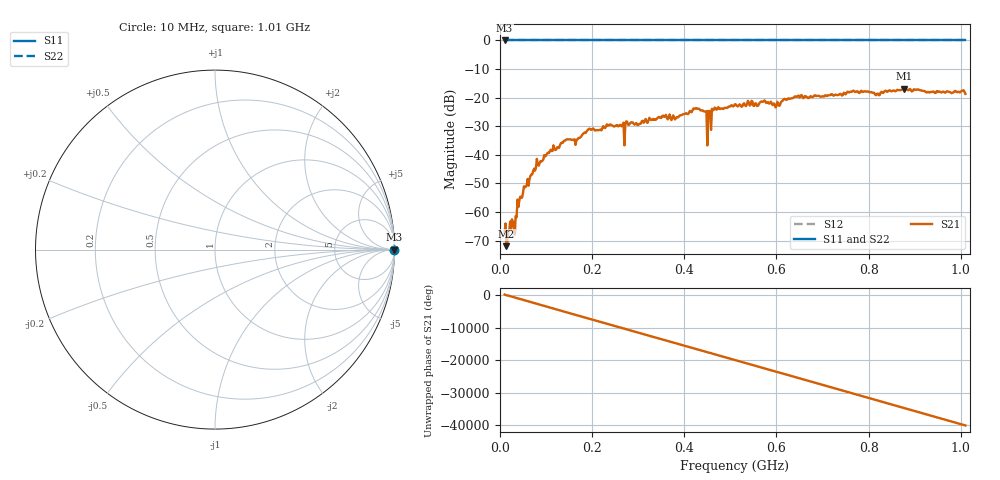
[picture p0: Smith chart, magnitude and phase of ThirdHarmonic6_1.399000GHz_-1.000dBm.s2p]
! 8/16/2025 3:59:18 PM
! C:\ANRITSUVNA\TEMP\TEMP.S2P
! CHANNEL.1
! TR.MEASUREMENT
! RAW.DATA
! RF.CORRECTION.OFF
! AVERAGING.OFF
! IF.BANDWIDTH: 5KHZ
! SWEEPTYPE:  FREQ.SWEEP(Linear)
! Reference Plane Port Info
! PORT:  PORT1  PORT2
! DISTANCE:  0  m  0  m
! TIME:  0  s  0  s
! PHASE.OFFSET:  0  deg.  0  deg.
! LOSS:  0  dB  0  dB
! REF.LOSS:  0  dB  0  dB
! REF.FREQ:  0  Hz  0  Hz
! Power Info
! POWER:  -20  dBm  -20  dBm
! EFF.POWER:  -20  dBm  -20  dBm
! SOURCE.ATTEN:  0  dB  0  dB
! TEST.ATTEN:  0  dB  0  dB
# GHZ S RI R 50.0
! FREQ.GHZ  S11RE  S11IM  S21RE  S21IM  S12RE  S12IM  S22RE  S22IM
!; PortSelection: Port_12
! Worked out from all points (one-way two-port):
!   501 points, 10 MHz to 1.01 GHz, reference 50 ohm
!   highest |S21| = -16.81 dB at 876 MHz (marker M1); lowest = -72.0 dB at 14 MHz (marker M2)
!   lowest |S11| = 0.0 dB at 10 MHz (marker M3)
!   |S11| at or under -10 dB: nowhere
!   |S22| runs from 0.0 to 0.0 dB; largest |S21 - S12| = 1.1
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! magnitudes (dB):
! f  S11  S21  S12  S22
! 10 MHz  0.0  -67.2  0.0  0.0
! 14 MHz  0.0  -72.0  0.0  0.0
! 32 MHz  0.0  -68.0  0.0  0.0
! 42 MHz  0.0  -55.8  0.0  0.0
! 78 MHz  0.0  -44.6  0.0  0.0
! 142 MHz  0.0  -35.0  0.0  0.0
! 178 MHz  0.0  -33.1  0.0  0.0
! 236 MHz  0.0  -29.7  0.0  0.0
! 344 MHz  0.0  -26.8  0.0  0.0
! 382 MHz  0.0  -27.1  0.0  0.0
! 428 MHz  0.0  -23.9  0.0  0.0
! 444 MHz  0.0  -24.9  0.0  0.0
! 446 MHz  0.0  -24.9  0.0  0.0
! 454 MHz  0.0  -24.8  0.0  0.0
! 456 MHz  0.0  -24.7  0.0  0.0
! 464 MHz  0.0  -24.2  0.0  0.0
! 510 MHz  0.0  -22.3  0.0  0.0
! 596 MHz  0.0  -22.3  0.0  0.0
! 678 MHz  0.0  -19.9  0.0  0.0
! 844 MHz  0.0  -17.5  0.0  0.0
! 876 MHz  0.0  -16.8  0.0  0.0
! 1.01 GHz  0.0  -18.7  0.0  0.0
